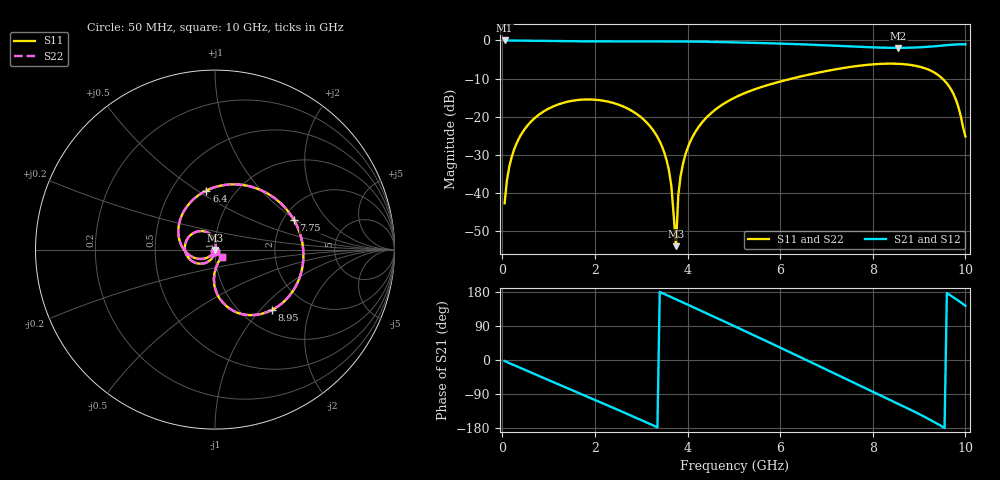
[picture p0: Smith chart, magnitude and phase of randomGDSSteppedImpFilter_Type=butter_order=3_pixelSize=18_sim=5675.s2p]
! freq	dB(S11)	phase(S11)	dB(S12)	phase(S12)
!  dB(S21)	phase(S21)	dB(S22)	phase(S22)
!S-par simulation data
#  GHz  S  DB  R 50
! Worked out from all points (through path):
!   200 points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, 50 MHz to 10 GHz, reference 50 ohm
!   highest |S21| = 0.00 dB at 50 MHz (marker M1); lowest = -1.9 dB at 8.55 GHz (marker M2)
!   group delay of S21, straight-line fit = 157 ps
!   lowest |S11| = -53.9 dB at 3.75 GHz (marker M3), VSWR 1.00, Z = 49.9 - j0.186 ohm
!   |S11| at or under -10 dB: start of sweep to 6.248 GHz; 9.503 GHz to end of sweep
!   |S22| runs from -53.9 to -6.1 dB; largest |S21 - S12| = 0
!   S11 on the Smith chart (normalised r, x): 50 MHz: 1.00, -0.01; 6.4 GHz: 0.74, +0.55; 7.75 GHz: 2.28, +0.97; 8.95 GHz: 1.35, -1.16; 10 GHz: 1.07, -0.09
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0.05  -42.66 -92.2  -0.00 -2.7  -0.00 -2.7  -42.66 -92.2
0.2  -30.66 -100.8  -0.02 -10.7  -0.02 -10.7  -30.66 -100.8
0.5  -22.97 -117.1  -0.06 -26.7  -0.06 -26.7  -22.97 -117.1
1.15  -17.03 -151.8  -0.16 -60.9  -0.16 -60.9  -17.03 -151.8
1.75  -15.48 176.8  -0.23 -92.3  -0.23 -92.3  -15.48 176.8
2.75  -18.12 124.0  -0.24 -145.1  -0.24 -145.1  -18.12 124.0
3.4  -26.45 88.7  -0.23 179.6  -0.23 179.6  -26.45 88.9
3.6  -34.14 77.8  -0.24 168.5  -0.24 168.5  -34.14 78.2
3.75  -53.90 -112.9  -0.25 160.2  -0.25 160.2  -53.87 -116.6
3.8  -40.62 -114.0  -0.26 157.4  -0.26 157.4  -40.62 -114.8
3.85  -35.58 -116.6  -0.26 154.7  -0.26 154.7  -35.58 -117.0
4.05  -26.75 -127.6  -0.29 143.5  -0.29 143.5  -26.75 -127.7
5.05  -14.79 176.0  -0.51 87.1  -0.51 87.1  -14.79 176.0
5.65  -11.99 141.6  -0.70 52.9  -0.70 52.9  -11.99 141.7
6.4  -9.56 98.2  -0.98 9.6  -0.98 9.6  -9.56 98.3
6.7  -8.75 80.8  -1.12 -7.9  -1.12 -7.9  -8.75 80.9
7.75  -6.56 20.6  -1.70 -69.1  -1.70 -69.1  -6.56 20.7
8.35  -6.08 -13.0  -1.93 -103.8  -1.93 -103.8  -6.08 -12.9
8.55  -6.12 -24.2  -1.94 -115.4  -1.94 -115.4  -6.12 -24.0
8.95  -6.71 -46.8  -1.84 -139.4  -1.84 -139.4  -6.71 -46.7
9.65  -12.06 -87.2  -1.17 172.8  -1.17 172.8  -12.06 -87.0
10  -25.13 -47.1  -1.00 143.1  -1.00 143.1  -25.11 -47.0
